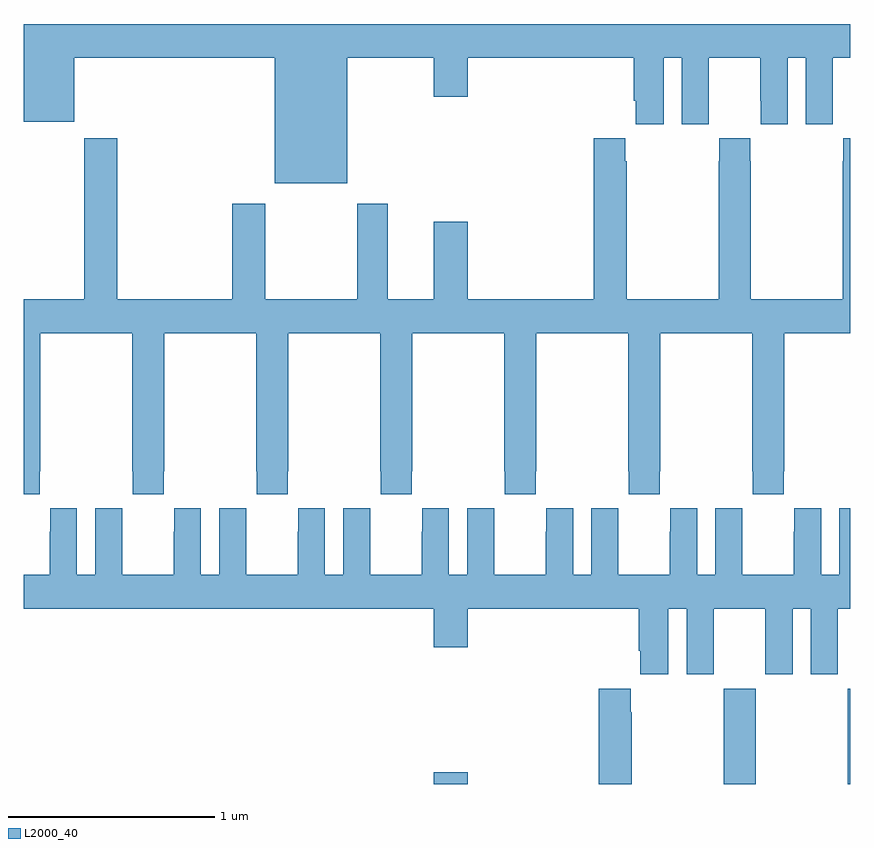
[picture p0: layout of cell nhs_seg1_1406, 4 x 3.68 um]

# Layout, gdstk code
import gdstk
lib = gdstk.Library(unit=1e-6, precision=1e-09)
def R(c, l, rs):  # rectangles x0, y0, x1, y1
    for r in rs: c.add(gdstk.rectangle(r[:2], r[2:], *l))
def P(c, l, *ps):  # polygons
    for p in ps: c.add(gdstk.Polygon(p, *l))
L2000_40 = (2000, 40)

nhs_seg1_1406 = lib.new_cell('nhs_seg1_1406')
R(nhs_seg1_1406, L2000_40, [(188.984,568.199,189.148,568.255), (190.387,568.199,190.542,568.66), (190.987,568.199,191,568.66)])
P(nhs_seg1_1406, L2000_40, [(188.566,571.712),(188.984,571.712),(188.984,571.524),(189.148,571.524),(189.148,571.712),(189.953,571.712),(189.953,571.504),(189.962,571.504),(189.962,571.392),(190.096,571.392),(190.096,571.712),(190.184,571.712),(190.184,571.392),(190.314,571.392),(190.314,571.504),(190.315,571.504),(190.315,571.712),(190.565,571.712),(190.565,571.504),(190.566,571.504),(190.566,571.392),(190.696,571.392),(190.696,571.712),(190.784,571.712),(190.784,571.392),(190.914,571.392),(190.914,571.504),(190.915,571.504),(190.915,571.712),(191,571.712),(191,571.876),(187,571.876),(187,571.403),(187.246,571.403),(187.246,571.712),(188.216,571.712),(188.216,571.106),(188.566,571.106)],
  [(187.077,569.713),(187.08,569.713),(187.08,570.38),(187.525,570.38),(187.525,569.713),(187.527,569.713),(187.527,569.601),(187.677,569.601),(187.677,569.713),(187.68,569.713),(187.68,570.38),(188.125,570.38),(188.125,569.713),(188.127,569.713),(188.127,569.601),(188.277,569.601),(188.277,569.713),(188.28,569.713),(188.28,570.38),(188.725,570.38),(188.725,569.713),(188.727,569.713),(188.727,569.601),(188.877,569.601),(188.877,569.713),(188.88,569.713),(188.88,570.38),(189.325,570.38),(189.325,569.713),(189.327,569.713),(189.327,569.601),(189.477,569.601),(189.477,569.713),(189.48,569.713),(189.48,570.38),(189.925,570.38),(189.925,569.713),(189.927,569.713),(189.927,569.601),(190.077,569.601),(190.077,569.713),(190.08,569.713),(190.08,570.38),(190.525,570.38),(190.525,569.713),(190.527,569.713),(190.527,569.601),(190.677,569.601),(190.677,569.713),(190.68,569.713),(190.68,570.38),(191,570.38),(191,571.324),(190.965,571.324),(190.965,571.211),(190.963,571.211),(190.963,570.544),(190.518,570.544),(190.518,571.211),(190.515,571.211),(190.515,571.324),(190.365,571.324),(190.365,571.211),(190.363,571.211),(190.363,570.544),(189.918,570.544),(189.918,571.211),(189.911,571.211),(189.911,571.324),(189.758,571.324),(189.758,570.544),(189.148,570.544),(189.148,570.919),(188.984,570.919),(188.984,570.544),(188.761,570.544),(188.761,571.006),(188.614,571.006),(188.614,570.544),(188.169,570.544),(188.169,571.006),(188.009,571.006),(188.009,570.544),(187.454,570.544),(187.454,571.324),(187.294,571.324),(187.294,570.544),(187,570.544),(187,569.601),(187.077,569.601)],
  [(187.946,569.533),(187.946,569.212),(187.858,569.212),(187.858,569.533),(187.728,569.533),(187.728,569.42),(187.727,569.42),(187.727,569.212),(187.477,569.212),(187.477,569.42),(187.476,569.42),(187.476,569.533),(187.346,569.533),(187.346,569.212),(187.258,569.212),(187.258,569.533),(187.128,569.533),(187.128,569.42),(187.127,569.42),(187.127,569.212),(187,569.212),(187,569.048),(188.984,569.048),(188.984,568.86),(189.148,568.86),(189.148,569.048),(189.977,569.048),(189.977,568.843),(189.983,568.843),(189.983,568.731),(190.12,568.731),(190.12,569.048),(190.208,569.048),(190.208,568.731),(190.339,568.731),(190.339,569.048),(190.589,569.048),(190.589,568.731),(190.72,568.731),(190.72,569.048),(190.808,569.048),(190.808,568.731),(190.939,568.731),(190.939,569.048),(191,569.048),(191,569.533),(190.946,569.533),(190.946,569.212),(190.858,569.212),(190.858,569.533),(190.728,569.533),(190.728,569.42),(190.727,569.42),(190.727,569.212),(190.477,569.212),(190.477,569.42),(190.476,569.42),(190.476,569.533),(190.346,569.533),(190.346,569.212),(190.258,569.212),(190.258,569.533),(190.128,569.533),(190.128,569.42),(190.127,569.42),(190.127,569.212),(189.877,569.212),(189.877,569.42),(189.876,569.42),(189.876,569.533),(189.746,569.533),(189.746,569.212),(189.658,569.212),(189.658,569.533),(189.528,569.533),(189.528,569.42),(189.527,569.42),(189.527,569.212),(189.277,569.212),(189.277,569.42),(189.276,569.42),(189.276,569.533),(189.146,569.533),(189.146,569.212),(189.058,569.212),(189.058,569.533),(188.928,569.533),(188.928,569.42),(188.927,569.42),(188.927,569.212),(188.677,569.212),(188.677,569.42),(188.676,569.42),(188.676,569.533),(188.546,569.533),(188.546,569.212),(188.458,569.212),(188.458,569.533),(188.328,569.533),(188.328,569.42),(188.327,569.42),(188.327,569.212),(188.077,569.212),(188.077,569.42),(188.076,569.42),(188.076,569.533)],
  [(189.942,568.547),(189.937,568.547),(189.937,568.66),(189.782,568.66),(189.782,568.199),(189.942,568.199)])

lib.write_gds('nhs_seg1_1406.gds')
